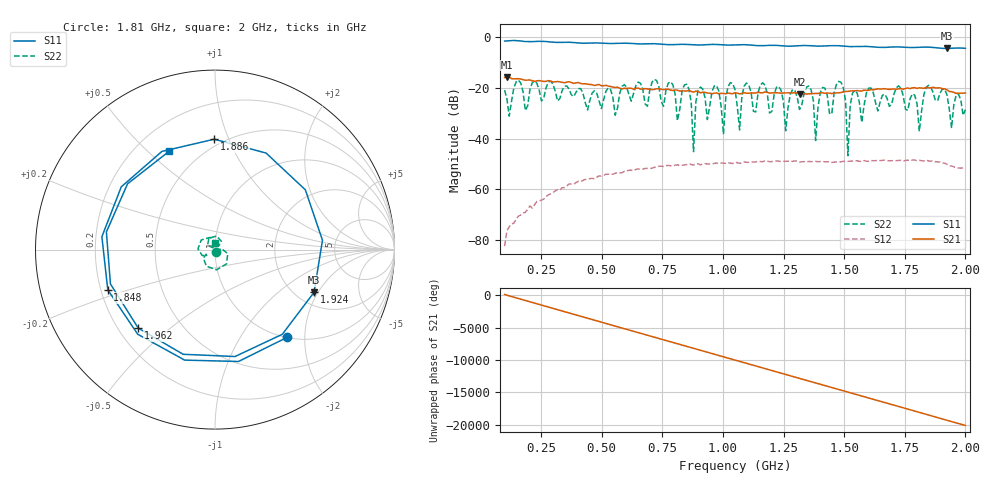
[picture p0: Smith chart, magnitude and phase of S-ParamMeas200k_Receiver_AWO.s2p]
!Keysight Technologies,N5242B,MY48420967,A.15.65.19
!Date: Saturday, February 04, 2023 11:21:56
!Correction: S11(C  1-Port  )
!S21(Off)
!S12(Off)
!S22(Off)
!S2P File: Measurements: S11, S21, S12, S22:
# Hz S  dB  R 50
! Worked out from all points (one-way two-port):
!   201 points, 100 MHz to 2 GHz, reference 50 ohm
!   highest |S21| = -15.63 dB at 109.5 MHz (marker M1); lowest = -22.4 dB at 1.316 GHz (marker M2)
!   lowest |S11| = -4.4 dB at 1.924 GHz (marker M3), VSWR 4.01, Z = 124 - j92.4 ohm
!   |S11| at or under -10 dB: nowhere
!   |S22| runs from -46.7 to -16.6 dB; largest |S21 - S12| = 0.17
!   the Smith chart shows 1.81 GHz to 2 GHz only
!   S11 on the Smith chart (normalised r, x): 1.81 GHz: 1.00, -1.64; 1.848 GHz: 0.23, -0.17; 1.886 GHz: 0.45, +0.89; 1.924 GHz: 2.48, -1.85; 1.962 GHz: 0.28, -0.39; 2 GHz: 0.34, +0.58
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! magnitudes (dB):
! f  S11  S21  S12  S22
! 100 MHz  -1.5  -15.9  -82.4  -20.9
! 109.5 MHz  -1.4  -15.6  -76.4  -24.3
! 423 MHz  -2.4  -18.4  -56.5  -22.1
! 736.5 MHz  -2.7  -20.3  -50.9  -19.7
! 850.5 MHz  -2.8  -21.2  -50.3  -18.5
! 879 MHz  -3.0  -21.7  -50.4  -45.1
! 898 MHz  -3.1  -21.5  -49.9  -20.9
! 1.002 GHz  -3.0  -22.2  -49.7  -38.3
! 1.05 GHz  -3.0  -21.9  -49.2  -20.6
! 1.316 GHz  -3.3  -22.4  -49.2  -28.5
! 1.373 GHz  -3.4  -22.2  -49.0  -25.0
! 1.383 GHz  -3.5  -22.2  -48.9  -40.7
! 1.487 GHz  -3.4  -21.8  -49.1  -17.8
! 1.516 GHz  -3.6  -21.4  -49.0  -46.7
! 1.544 GHz  -3.7  -21.1  -48.8  -20.9
! 1.687 GHz  -3.9  -20.6  -48.7  -27.3
! 1.81 GHz  -4.0  -19.9  -48.6  -37.1
! 1.848 GHz  -3.9  -20.0  -48.8  -18.9
! 1.886 GHz  -4.2  -20.0  -49.2  -24.9
! 1.924 GHz  -4.4  -20.8  -50.1  -22.7
! 1.962 GHz  -4.3  -22.1  -51.6  -22.9
! 2 GHz  -4.4  -22.0  -51.6  -28.6
